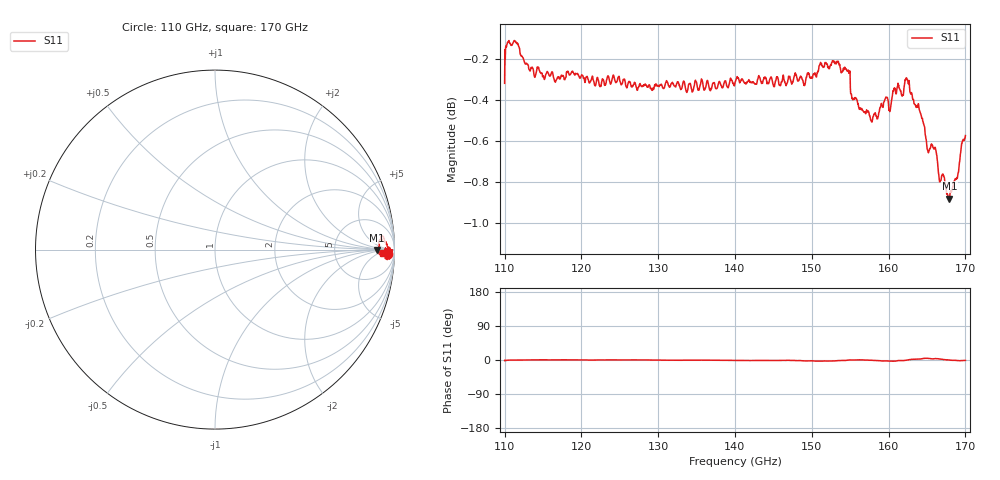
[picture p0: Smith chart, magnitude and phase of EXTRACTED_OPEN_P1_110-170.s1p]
! Generated by Phase I extraction
# Hz S RI R 50
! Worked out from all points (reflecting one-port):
!   1471 points, 110 GHz to 170 GHz, reference 50 ohm
!   lowest |S11| = -0.9 dB at 167.9 GHz (marker M1), VSWR 19.78, Z = 988 - j24 ohm
!   phase of S11 starts at -2 deg and turns +0 deg over the sweep
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1.1e11  0.9636 -0.0253
1.104082e11  0.9863 -0.00824
1.113878e11  0.9867 -0.00421
1.136327e11  0.9722 0.00992
1.175102e11  0.9679 0.00649
1.21102e11  0.9643 -0.00476
1.250204e11  0.965 0.000509
1.325306e11  0.9647 -0.0126
1.354694e11  0.9631 -0.00424
1.4e11  0.9643 -0.0141
1.475102e11  0.9647 -0.0179
1.51102e11  0.9734 -0.0497
1.528571e11  0.9748 -0.0431
1.550204e11  0.9615 0.0056
1.564898e11  0.9505 0.00547
1.578776e11  0.944 -0.0127
1.605306e11  0.9574 -0.0521
1.613061e11  0.9627 -0.0235
1.619592e11  0.9592 -0.0238
1.625306e11  0.9647 0.00144
1.629796e11  0.9585 0.0316
1.640408e11  0.9483 0.0427
1.649388e11  0.9295 0.0752
1.656735e11  0.9297 0.0482
1.663265e11  0.922 0.0575
1.679184e11  0.9037 -0.00223
1.691837e11  0.92 -0.0289
1.7e11  0.936 -0.0165
